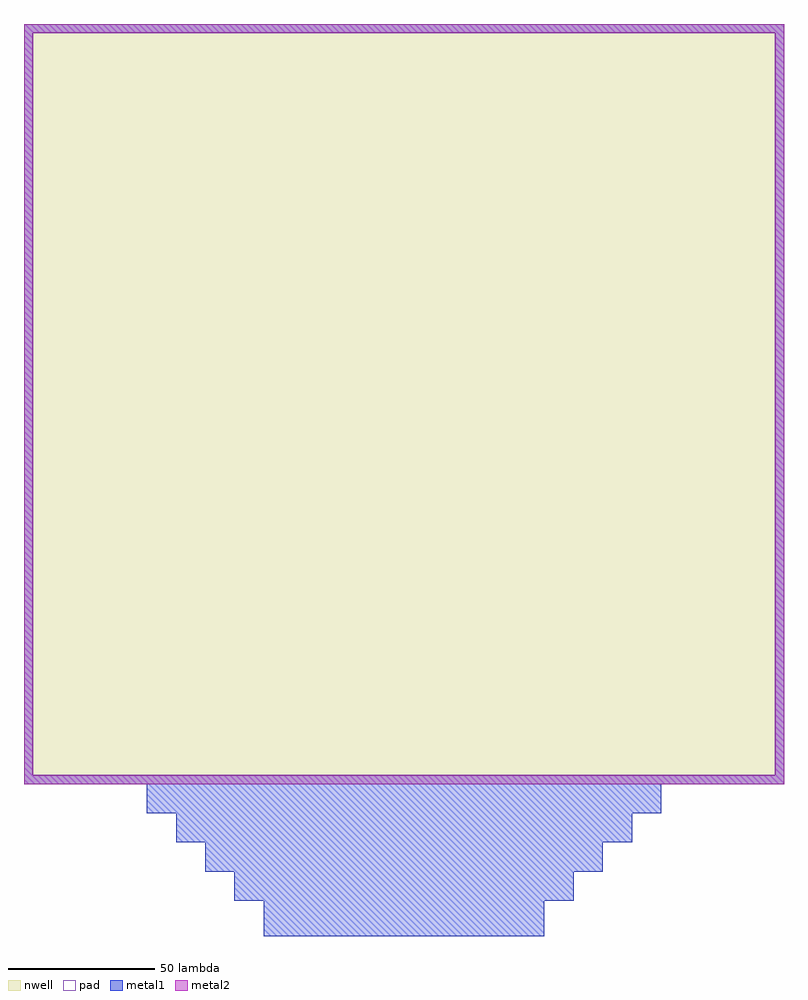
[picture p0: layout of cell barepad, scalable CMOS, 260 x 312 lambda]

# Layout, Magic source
magic
tech scmos
<< nwell >>
rect 16 754 276 1014
<< metal1 >>
rect 16 1011 276 1014
rect 16 757 19 1011
rect 273 757 276 1011
rect 16 754 276 757
rect 58 744 234 754
rect 68 734 224 744
rect 78 724 214 734
rect 88 714 204 724
rect 98 702 194 714
<< metal2 >>
rect 16 1011 276 1014
rect 16 757 19 1011
rect 273 757 276 1011
rect 16 754 276 757
<< pad >>
rect 19 757 273 1011
<< end >>
